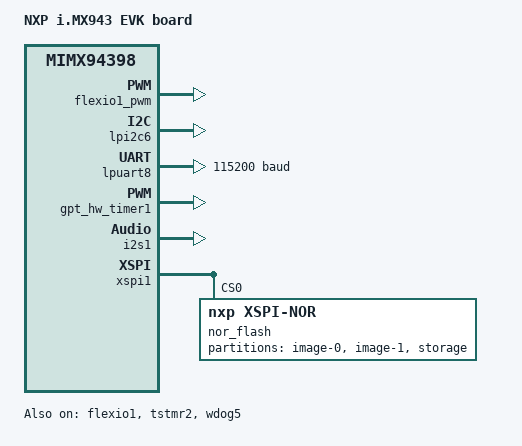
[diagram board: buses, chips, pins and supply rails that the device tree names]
/*
 * Copyright 2025 NXP
 *
 * SPDX-License-Identifier: Apache-2.0
 */

/dts-v1/;

#include <nxp/imx/nxp_imx943_m33.dtsi>
#include "imx943_evk-pinctrl.dtsi"
#include "imx943_evk_mimx94398_cm.dtsi"

/ {
	model = "NXP i.MX943 EVK board";
	compatible = "nxp,imx943_evk";

	chosen {
		zephyr,flash = &itcm;
		zephyr,sram = &dtcm;

		zephyr,console = &lpuart8;
		zephyr,shell-uart = &lpuart8;
	};

	aliases {
		i2s-codec-tx = &i2s1;
		i2s-tx = &i2s1;
		watchdog0 = &wdog5;
	};
};

&flexio1 {
	status = "okay";

	/* Signal can be checked by the connector J44 Pin10(M1_LED_TP1) via logic analyzer */
	flexio1_pwm: flexio1_pwm {
		compatible = "nxp,flexio-pwm";
		#pwm-cells = <3>;
		pinctrl-0 = <&flexio1_io5_default>;
		pinctrl-names = "default";

		pwm_1 {
			pin-id = <5>;
			prescaler = <1>;
		};

		status = "okay";
	};
};

&lpi2c6 {
	pinctrl-0 = <&lpi2c6_default>;
	pinctrl-names = "default";
	status = "okay";
};

&lpuart3 {
	status = "disabled";
	current-speed = <115200>;
	pinctrl-0 = <&lpuart3_default>;
	pinctrl-names = "default";
};

&lpuart8 {
	status = "okay";
	current-speed = <115200>;
	pinctrl-0 = <&lpuart8_default>;
	pinctrl-names = "default";
};

&switch_port0 {
	zephyr,random-mac-address;
	pinctrl-0 = <&eth0_default>;
	pinctrl-names = "default";
	phy-handle = <&phy0>;
	phy-connection-type = "mii";
	status = "disabled";
};

&switch_port1 {
	zephyr,random-mac-address;
	pinctrl-0 = <&eth1_default>;
	pinctrl-names = "default";
	phy-handle = <&phy1>;
	phy-connection-type = "mii";
	status = "disabled";
};

/* Internal port */
&switch_port3 {
	zephyr,random-mac-address;
	status = "disabled";
};

&gpt_hw_timer1 {
	status = "okay";
};

&tstmr2 {
	status = "okay";
};

&edma2 {
	status = "okay";
};

&edma4 {
	status = "okay";
};

&i2s1 {
	mclk-output;
	status = "okay";
};

&edma1 {
	status = "okay";
};

&wdog5 {
	status = "okay";
};

&xspi1 {
	pinctrl-0 = <&xspi1_default>;
	pinctrl-names = "default";
	status = "okay";

	/*
	 * Secure Flash Protection (SFP) MDAD/FRAD configuration.
	 * Mirrors the MCUXpresso SDK cm33_core1 xspi example.
	 * i.MX943 CM33 core1: SOC_CPU_DOMAIN_ID = 3.
	 * Property names / enums per dts/bindings/xspi/nxp,xspi.yaml.
	 */

	/*
	 * FRAD - Region 0 (second-level: address-range access control).
	 * Per-target-group configuration: each target-group@N child maps to
	 * tgConfig[N], using its unit-address (reg) as the target-group index.
	 * The master-access array carries one access-permission entry per master
	 * (tgMasterAccess[]). Only target group 0, master 0 (domain 3) is granted
	 * access here.
	 */

	frad_region0 {
		start-address = <0x00000000>;
		end-address = <0xffffffff>;
		#address-cells = <1>;
		#size-cells = <0>;

		/* Target group 0: master0 = domain 3, master1 = 0 */
		target-group@0 {
			reg = <0>;
			master-access = <3 0>;
			assign-valid;
			descriptor-lock = <0>;
			exclusive-access-lock = <0>;
		};

		/* Target group 1 (unused) */
		target-group@1 {
			reg = <1>;
			master-access = <0 0>;
			descriptor-lock = <0>;
			exclusive-access-lock = <0>;
		};
	};

	nor_flash: flash@0 {
		compatible = "nxp,xspi-nor";
		reg = <0>;
		/* Micron MT35XU512ABA: 512 Mbit = 64 MByte */
		size = <DT_SIZE_M(64)>;

		device-name = "mt35xu512aba";
		sample-clk-source = <3>;
		write-block-size = <2>;

		partitions {
			compatible = "fixed-partitions";
			#address-cells = <1>;
			#size-cells = <1>;

			slot0_partition: partition@0 {
				label = "image-0";
				reg = <0x00000000 DT_SIZE_M(7)>;
			};

			slot1_partition: partition@700000 {
				label = "image-1";
				reg = <0x00700000 DT_SIZE_M(7)>;
			};

			storage_partition: partition@e00000 {
				label = "storage";
				reg = <0x00e00000 DT_SIZE_M(2)>;
			};
		};
	};
};
